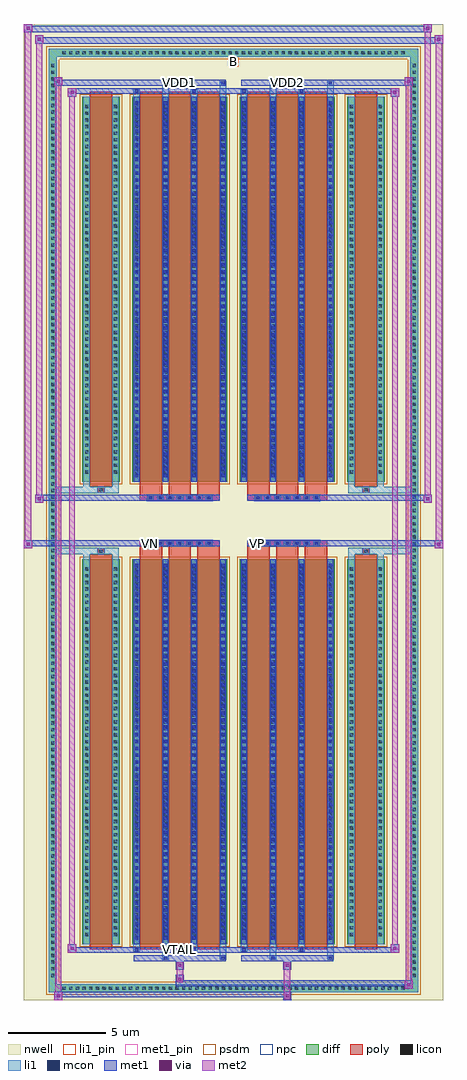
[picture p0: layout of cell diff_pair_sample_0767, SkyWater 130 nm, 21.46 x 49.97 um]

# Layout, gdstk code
import gdstk
lib = gdstk.Library(unit=1e-6, precision=5e-09)
def R(c, l, rs):  # rectangles x0, y0, x1, y1
    for r in rs: c.add(gdstk.rectangle(r[:2], r[2:], *l))
def A(c, l, x, y, w, h, nx, ny, dx, dy):  # array of equal rectangles
    R(c, l, [(x+i*dx, y+j*dy, x+i*dx+w, y+j*dy+h) for i in range(nx) for j in range(ny)])
def P(c, l, *ps):  # polygons
    for p in ps: c.add(gdstk.Polygon(p, *l))
nwell = (64, 20)
diff = (65, 20)
poly = (66, 20)
licon = (66, 44)
li1_pin = (67, 16)
li1 = (67, 20)
mcon = (67, 44)
met1_pin = (68, 16)
met1 = (68, 20)
via = (68, 44)
met2 = (69, 20)
psdm = (94, 20)
npc = (95, 20)

diff_pair_sample_0767 = lib.new_cell('diff_pair_sample_0767')
R(diff_pair_sample_0767, nwell, [(-10.73,-24.55,10.73,25.42), (-8.05,-22.74,-0.01,-0.8), (0.01,-22.74,8.05,-0.8), (-8.05,0.8,-0.01,22.74), (0.01,0.8,8.05,22.74)])
A(diff_pair_sample_0767, diff, -8.875, -24.15, 0.41, 0.41, 52, 2, 0.34, 47.89)
A(diff_pair_sample_0767, diff, -9.46, -23.495, 0.41, 0.41, 1, 138, 0, 0.34)
A(diff_pair_sample_0767, diff, 9.05, -23.495, 0.41, 0.41, 1, 138, 0, 0.34)
R(diff_pair_sample_0767, diff, [(-8.875,-24.15,8.875,-23.74), (-9.46,-23.495,-9.05,23.495), (9.05,-23.495,9.46,23.495), (-7.74,-21.695,-5.82,-1.985), (-5.18,-21.695,-0.32,-1.985), (0.32,-21.695,5.18,-1.985), (5.82,-21.695,7.74,-1.985), (-7.74,1.985,-5.82,21.695), (-5.18,1.985,-0.32,21.695), (0.32,1.985,5.18,21.695), (5.82,1.985,7.74,21.695), (-8.875,23.74,8.875,24.15)])
P(diff_pair_sample_0767, diff, [(9.46,24.15),(-9.46,24.15),(-9.46,-23.74),(-9.05,-23.74),(-9.05,23.74),(9.05,23.74),(9.05,-23.74),(-9.05,-23.74),(-9.46,-23.74),(-9.46,-24.15),(9.46,-24.15)])
A(diff_pair_sample_0767, poly, -4.79, -21.945, 1.14, 20.21, 3, 2, 1.47, 23.68)
A(diff_pair_sample_0767, poly, 0.71, -21.945, 1.14, 20.21, 3, 2, 1.47, 23.68)
A(diff_pair_sample_0767, poly, -4.79, -1.735, 1.14, 0.405, 3, 2, 1.47, 3.065)
A(diff_pair_sample_0767, poly, 0.71, -1.735, 1.14, 0.405, 3, 2, 1.47, 3.065)
A(diff_pair_sample_0767, poly, -4.415, -1.33, 0.33, 0.33, 7, 2, 0.5, 2.33)
A(diff_pair_sample_0767, poly, 1.085, -1.33, 0.33, 0.33, 7, 2, 0.5, 2.33)
R(diff_pair_sample_0767, poly, [(-7.35,-21.945,-6.21,-1.735), (6.21,-21.945,7.35,-1.735), (-6.945,-1.735,-6.615,-1.405), (-6.945,-1.735,-6.615,-1.405), (6.615,-1.735,6.945,-1.405), (6.615,-1.735,6.945,-1.405), (-4.79,-1.33,-0.71,-1), (0.71,-1.33,4.79,-1), (-4.79,1,-0.71,1.33), (0.71,1,4.79,1.33), (-6.945,1.405,-6.615,1.735), (-6.945,1.405,-6.615,1.735), (6.615,1.405,6.945,1.735), (6.615,1.405,6.945,1.735), (-7.35,1.735,-6.21,21.945), (6.21,1.735,7.35,21.945)])
A(diff_pair_sample_0767, licon, -8.755, -24.03, 0.17, 0.17, 52, 2, 0.34, 47.89)
A(diff_pair_sample_0767, licon, -9.34, -23.375, 0.17, 0.17, 1, 138, 0, 0.34)
A(diff_pair_sample_0767, licon, 9.17, -23.375, 0.17, 0.17, 1, 138, 0, 0.34)
A(diff_pair_sample_0767, licon, -7.6, -21.275, 0.17, 0.17, 1, 56, 0, 0.34)
A(diff_pair_sample_0767, licon, -6.13, -21.275, 0.17, 0.17, 1, 56, 0, 0.34)
A(diff_pair_sample_0767, licon, -5.04, -21.275, 0.17, 0.17, 4, 56, 1.47, 0.34)
A(diff_pair_sample_0767, licon, 0.46, -21.275, 0.17, 0.17, 4, 56, 1.47, 0.34)
A(diff_pair_sample_0767, licon, 5.96, -21.275, 0.17, 0.17, 1, 56, 0, 0.34)
A(diff_pair_sample_0767, licon, 7.43, -21.275, 0.17, 0.17, 1, 56, 0, 0.34)
A(diff_pair_sample_0767, licon, -4.335, -1.25, 0.17, 0.17, 7, 2, 0.5, 2.33)
A(diff_pair_sample_0767, licon, 1.165, -1.25, 0.17, 0.17, 7, 2, 0.5, 2.33)
A(diff_pair_sample_0767, licon, -7.6, 2.405, 0.17, 0.17, 1, 56, 0, 0.34)
A(diff_pair_sample_0767, licon, -6.13, 2.405, 0.17, 0.17, 1, 56, 0, 0.34)
A(diff_pair_sample_0767, licon, -5.04, 2.405, 0.17, 0.17, 4, 56, 1.47, 0.34)
A(diff_pair_sample_0767, licon, 0.46, 2.405, 0.17, 0.17, 4, 56, 1.47, 0.34)
A(diff_pair_sample_0767, licon, 5.96, 2.405, 0.17, 0.17, 1, 56, 0, 0.34)
A(diff_pair_sample_0767, licon, 7.43, 2.405, 0.17, 0.17, 1, 56, 0, 0.34)
R(diff_pair_sample_0767, licon, [(-6.865,-1.655,-6.695,-1.485), (6.695,-1.655,6.865,-1.485), (-6.865,1.485,-6.695,1.655), (6.695,1.485,6.865,1.655)])
R(diff_pair_sample_0767, li1_pin, [(-0.25,23.24,0.25,23.74)])
A(diff_pair_sample_0767, li1, -8.835, -24.11, 0.33, 0.33, 52, 2, 0.34, 47.89)
A(diff_pair_sample_0767, li1, -9.42, -23.455, 0.33, 0.33, 1, 138, 0, 0.34)
A(diff_pair_sample_0767, li1, 9.09, -23.455, 0.33, 0.33, 1, 138, 0, 0.34)
A(diff_pair_sample_0767, li1, -5.12, -21.695, 0.33, 19.71, 4, 2, 1.47, 23.68)
A(diff_pair_sample_0767, li1, 0.38, -21.695, 0.33, 19.71, 4, 2, 1.47, 23.68)
A(diff_pair_sample_0767, li1, -5.04, -21.465, 0.17, 0.17, 4, 54, 1.47, 0.36)
A(diff_pair_sample_0767, li1, -5.04, -21.465, 0.17, 19.25, 4, 2, 1.47, 23.68)
A(diff_pair_sample_0767, li1, 0.46, -21.465, 0.17, 0.17, 4, 54, 1.47, 0.36)
A(diff_pair_sample_0767, li1, 0.46, -21.465, 0.17, 19.25, 4, 2, 1.47, 23.68)
A(diff_pair_sample_0767, li1, -7.68, -21.355, 0.33, 0.33, 1, 56, 0, 0.34)
A(diff_pair_sample_0767, li1, -6.21, -21.355, 0.33, 0.33, 1, 56, 0, 0.34)
A(diff_pair_sample_0767, li1, -5.12, -21.355, 0.33, 0.33, 4, 56, 1.47, 0.34)
A(diff_pair_sample_0767, li1, 0.38, -21.355, 0.33, 0.33, 4, 56, 1.47, 0.34)
A(diff_pair_sample_0767, li1, 5.88, -21.355, 0.33, 0.33, 1, 56, 0, 0.34)
A(diff_pair_sample_0767, li1, 7.35, -21.355, 0.33, 0.33, 1, 56, 0, 0.34)
A(diff_pair_sample_0767, li1, -4.415, -1.33, 0.33, 0.33, 7, 2, 0.5, 2.33)
A(diff_pair_sample_0767, li1, 1.085, -1.33, 0.33, 0.33, 7, 2, 0.5, 2.33)
A(diff_pair_sample_0767, li1, -5.04, 2.215, 0.17, 0.17, 4, 54, 1.47, 0.36)
A(diff_pair_sample_0767, li1, 0.46, 2.215, 0.17, 0.17, 4, 54, 1.47, 0.36)
A(diff_pair_sample_0767, li1, -7.68, 2.325, 0.33, 0.33, 1, 56, 0, 0.34)
A(diff_pair_sample_0767, li1, -6.21, 2.325, 0.33, 0.33, 1, 56, 0, 0.34)
A(diff_pair_sample_0767, li1, -5.12, 2.325, 0.33, 0.33, 4, 56, 1.47, 0.34)
A(diff_pair_sample_0767, li1, 0.38, 2.325, 0.33, 0.33, 4, 56, 1.47, 0.34)
A(diff_pair_sample_0767, li1, 5.88, 2.325, 0.33, 0.33, 1, 56, 0, 0.34)
A(diff_pair_sample_0767, li1, 7.35, 2.325, 0.33, 0.33, 1, 56, 0, 0.34)
R(diff_pair_sample_0767, li1, [(-9.46,-24.15,-9.05,-23.74), (-9.46,-24.15,-9.05,-23.74), (-9.05,-24.15,9.05,-23.74), (9.05,-24.15,9.46,-23.74), (9.05,-24.15,9.46,-23.74), (-9.46,-23.74,-9.05,23.74), (9.05,-23.74,9.46,23.74), (-3.65,-22.5,-3.32,-21.695), (-3.57,-22.5,-3.4,-22.33), (-0.71,-22.5,-0.38,-21.695), (-0.63,-22.5,-0.46,-22.33), (1.85,-22.5,2.18,-21.695), (1.93,-22.5,2.1,-22.33), (4.79,-22.5,5.12,-21.695), (4.87,-22.5,5.04,-22.33), (-5.12,-22.07,-4.79,-21.695), (-5.04,-22.07,-4.87,-21.9), (-2.18,-22.07,-1.85,-21.695), (-2.1,-22.07,-1.93,-21.9), (0.38,-22.07,0.71,-21.695), (0.46,-22.07,0.63,-21.9), (3.32,-22.07,3.65,-21.695), (3.4,-22.07,3.57,-21.9), (-7.68,-21.695,-7.35,-1.985), (-6.21,-21.695,-5.88,-1.985), (5.88,-21.695,6.21,-1.985), (7.35,-21.695,7.68,-1.985), (-7.68,-1.985,-7.35,-1.405), (-6.21,-1.985,-5.88,-1.405), (5.88,-1.985,6.21,-1.405), (7.35,-1.985,7.68,-1.405), (-9.46,-1.735,-6.945,-1.405), (-7.68,-1.735,-6.945,-1.405), (-6.945,-1.735,-6.615,-1.405), (-6.615,-1.735,-5.88,-1.405), (5.88,-1.735,6.615,-1.405), (6.615,-1.735,6.945,-1.405), (6.615,-1.735,9.46,-1.405), (6.945,-1.735,7.68,-1.405), (-9.46,1.405,-6.945,1.735), (-7.68,1.405,-6.945,1.735), (-7.68,1.405,-7.35,1.985), (-6.945,1.405,-6.615,1.735), (-6.615,1.405,-5.88,1.735), (-6.21,1.405,-5.88,1.985), (5.88,1.405,6.615,1.735), (5.88,1.405,6.21,1.985), (6.615,1.405,6.945,1.735), (6.615,1.405,9.46,1.735), (6.945,1.405,7.68,1.735), (7.35,1.405,7.68,1.985), (-7.68,1.985,-7.35,21.695), (-6.21,1.985,-5.88,21.695), (5.88,1.985,6.21,21.695), (7.35,1.985,7.68,21.695), (-5.12,21.695,-4.79,22.07), (-3.65,21.695,-3.32,22.5), (-2.18,21.695,-1.85,22.07), (-0.71,21.695,-0.38,22.5), (0.38,21.695,0.71,22.07), (1.85,21.695,2.18,22.5), (3.32,21.695,3.65,22.07), (4.79,21.695,5.12,22.5), (-5.04,21.9,-4.87,22.07), (-2.1,21.9,-1.93,22.07), (0.46,21.9,0.63,22.07), (3.4,21.9,3.57,22.07), (-3.57,22.33,-3.4,22.5), (-0.63,22.33,-0.46,22.5), (1.93,22.33,2.1,22.5), (4.87,22.33,5.04,22.5), (-9.46,23.74,-9.05,24.15), (-9.46,23.74,-9.05,24.15), (-9.05,23.74,9.05,24.15), (9.05,23.74,9.46,24.15), (9.05,23.74,9.46,24.15)])
A(diff_pair_sample_0767, mcon, -5.04, -21.465, 0.17, 0.17, 4, 54, 1.47, 0.36)
A(diff_pair_sample_0767, mcon, 0.46, -21.465, 0.17, 0.17, 4, 54, 1.47, 0.36)
A(diff_pair_sample_0767, mcon, -4.335, -1.25, 0.17, 0.17, 7, 2, 0.5, 2.33)
A(diff_pair_sample_0767, mcon, 1.165, -1.25, 0.17, 0.17, 7, 2, 0.5, 2.33)
A(diff_pair_sample_0767, mcon, -5.04, 2.215, 0.17, 0.17, 4, 54, 1.47, 0.36)
A(diff_pair_sample_0767, mcon, 0.46, 2.215, 0.17, 0.17, 4, 54, 1.47, 0.36)
R(diff_pair_sample_0767, mcon, [(-3.57,-22.5,-3.4,-22.33), (-0.63,-22.5,-0.46,-22.33), (1.93,-22.5,2.1,-22.33), (4.87,-22.5,5.04,-22.33), (-5.04,-22.07,-4.87,-21.9), (-2.1,-22.07,-1.93,-21.9), (0.46,-22.07,0.63,-21.9), (3.4,-22.07,3.57,-21.9), (-5.04,21.9,-4.87,22.07), (-2.1,21.9,-1.93,22.07), (0.46,21.9,0.63,22.07), (3.4,21.9,3.57,22.07), (-3.57,22.33,-3.4,22.5), (-0.63,22.33,-0.46,22.5), (1.93,22.33,2.1,22.5), (4.87,22.33,5.04,22.5)])
R(diff_pair_sample_0767, met1_pin, [(-2.885,-22.11,-2.615,-21.84), (-4.385,-1.29,-4.115,-1.02), (1.115,-1.29,1.385,-1.02), (-2.885,22.29,-2.615,22.56), (2.615,22.29,2.885,22.56)])
A(diff_pair_sample_0767, met1, -5.1, -21.695, 0.29, 19.71, 4, 2, 1.47, 23.68)
A(diff_pair_sample_0767, met1, 0.4, -21.695, 0.29, 19.71, 4, 2, 1.47, 23.68)
A(diff_pair_sample_0767, met1, -5.1, -21.525, 0.29, 0.29, 4, 54, 1.47, 0.36)
A(diff_pair_sample_0767, met1, 0.4, -21.525, 0.29, 0.29, 4, 54, 1.47, 0.36)
A(diff_pair_sample_0767, met1, -4.395, -1.31, 0.29, 0.29, 7, 2, 0.5, 2.33)
A(diff_pair_sample_0767, met1, 1.105, -1.31, 0.29, 0.29, 7, 2, 0.5, 2.33)
A(diff_pair_sample_0767, met1, -5.1, 2.155, 0.29, 0.29, 4, 54, 1.47, 0.36)
A(diff_pair_sample_0767, met1, 0.4, 2.155, 0.29, 0.29, 4, 54, 1.47, 0.36)
R(diff_pair_sample_0767, met1, [(-9.19,-24.55,-8.76,-24.12), (2.535,-24.55,2.965,-24.12), (-9.19,-24.41,2.965,-24.12), (8.76,-23.98,9.19,-23.55), (-2.965,-23.84,9.19,-23.55), (-2.965,-23.7,-2.535,-23.27), (-2.965,-22.99,-2.535,-22.56), (2.535,-22.99,2.965,-22.56), (-5.1,-22.56,-0.4,-22.27), (-3.63,-22.56,-3.34,-22.27), (-0.69,-22.56,-0.4,-22.27), (0.4,-22.56,5.1,-22.27), (1.87,-22.56,2.16,-22.27), (4.81,-22.56,5.1,-22.27), (-8.48,-22.13,-8.05,-21.7), (-8.48,-22.13,-5.1,-21.84), (-5.1,-22.13,-4.81,-21.84), (-5.1,-22.13,-0.4,-21.84), (-2.16,-22.13,-1.87,-21.84), (-0.4,-22.13,0.4,-21.84), (0.4,-22.13,0.69,-21.84), (0.4,-22.13,5.1,-21.84), (3.34,-22.13,3.63,-21.84), (5.1,-22.13,8.48,-21.84), (8.05,-22.13,8.48,-21.7), (-10.73,-1.43,-10.3,-1), (10.3,-1.43,10.73,-1), (-10.73,-1.33,-0.71,-1), (-4.79,-1.33,-0.71,-1), (0.71,-1.33,4.79,-1), (0.71,-1.33,10.73,-1), (-10.16,0.9,-9.73,1.33), (9.73,0.9,10.16,1.33), (-10.16,1,-4.79,1.33), (-4.79,1,-0.71,1.33), (0.71,1,4.79,1.33), (4.79,1,10.16,1.33), (-8.48,21.7,-8.05,22.13), (8.05,21.7,8.48,22.13), (-8.48,21.84,-5.1,22.13), (-5.1,21.84,-4.81,22.13), (-5.1,21.84,-0.4,22.13), (-2.16,21.84,-1.87,22.13), (-0.4,21.84,0.4,22.13), (0.4,21.84,0.69,22.13), (0.4,21.84,5.1,22.13), (3.34,21.84,3.63,22.13), (5.1,21.84,8.48,22.13), (-9.19,22.27,-8.76,22.7), (-9.19,22.27,-5.1,22.56), (-5.1,22.27,-0.4,22.56), (-3.63,22.27,-3.34,22.56), (-0.69,22.27,-0.4,22.56), (0.4,22.27,5.1,22.56), (1.87,22.27,2.16,22.56), (4.81,22.27,5.1,22.56), (5.1,22.27,9.19,22.56), (8.76,22.27,9.19,22.7), (-10.16,24.42,-9.73,24.85), (-10.16,24.42,-8.05,24.75), (-8.05,24.42,8.05,24.75), (8.05,24.42,10.73,24.75), (10.3,24.42,10.73,24.85), (-10.73,24.99,-10.3,25.42), (-10.73,24.99,-8.05,25.32), (-8.05,24.99,8.05,25.32), (8.05,24.99,10.16,25.32), (9.73,24.99,10.16,25.42)])
R(diff_pair_sample_0767, via, [(-9.05,-24.41,-8.9,-24.26), (2.675,-24.41,2.825,-24.26), (8.9,-23.84,9.05,-23.69), (-2.825,-23.56,-2.675,-23.41), (-2.825,-22.85,-2.675,-22.7), (2.675,-22.85,2.825,-22.7), (-8.34,-21.99,-8.19,-21.84), (8.19,-21.99,8.34,-21.84), (-10.59,-1.29,-10.44,-1.14), (10.44,-1.29,10.59,-1.14), (-10.02,1.04,-9.87,1.19), (9.87,1.04,10.02,1.19), (-8.34,21.84,-8.19,21.99), (8.19,21.84,8.34,21.99), (-9.05,22.41,-8.9,22.56), (8.9,22.41,9.05,22.56), (-10.02,24.56,-9.87,24.71), (10.44,24.56,10.59,24.71), (-10.59,25.13,-10.44,25.28), (9.87,25.13,10.02,25.28)])
R(diff_pair_sample_0767, met2, [(-9.19,-24.55,-8.76,-24.12), (-9.12,-24.55,-8.83,22.7), (-8.83,-24.55,-8.76,-24.12), (-9.14,-24.5,-8.81,-24.17), (2.585,-24.5,2.915,-24.17), (2.585,-24.17,2.915,-22.94), (8.76,-23.98,9.19,-23.55), (8.83,-23.98,9.12,22.7), (9.12,-23.98,9.19,-23.55), (8.81,-23.93,9.14,-23.6), (-2.915,-23.65,-2.585,-23.32), (-2.915,-23.32,-2.585,-22.94), (-2.915,-22.94,-2.585,-22.61), (2.585,-22.94,2.915,-22.61), (-8.48,-22.13,-8.05,-21.7), (-8.41,-22.13,-8.12,22.13), (-8.12,-22.13,-8.05,-21.7), (8.05,-22.13,8.48,-21.7), (8.12,-22.13,8.41,22.13), (8.41,-22.13,8.48,-21.7), (-8.43,-22.08,-8.1,-21.75), (8.1,-22.08,8.43,-21.75), (-10.73,-1.43,-10.3,-1), (-10.68,-1.43,-10.35,25.42), (-10.35,-1.43,-10.3,-1), (10.3,-1.43,10.73,-1), (10.35,-1.43,10.68,24.85), (10.68,-1.43,10.73,-1), (-10.68,-1.38,-10.35,-1.05), (10.35,-1.38,10.68,-1.05), (-10.16,0.9,-9.73,1.33), (-10.11,0.9,-9.78,24.85), (-9.78,0.9,-9.73,1.33), (9.73,0.9,10.16,1.33), (9.78,0.9,10.11,25.42), (10.11,0.9,10.16,1.33), (-10.11,0.95,-9.78,1.28), (9.78,0.95,10.11,1.28), (-8.48,21.7,-8.05,22.13), (-8.12,21.7,-8.05,22.13), (8.05,21.7,8.48,22.13), (8.41,21.7,8.48,22.13), (-8.43,21.75,-8.1,22.08), (8.1,21.75,8.43,22.08), (-9.19,22.27,-8.76,22.7), (-8.83,22.27,-8.76,22.7), (8.76,22.27,9.19,22.7), (9.12,22.27,9.19,22.7), (-9.14,22.32,-8.81,22.65), (8.81,22.32,9.14,22.65), (-10.16,24.42,-9.73,24.85), (-9.78,24.42,-9.73,24.85), (10.3,24.42,10.73,24.85), (10.68,24.42,10.73,24.85), (-10.11,24.47,-9.78,24.8), (10.35,24.47,10.68,24.8), (-10.73,24.99,-10.3,25.42), (-10.35,24.99,-10.3,25.42), (9.73,24.99,10.16,25.42), (10.11,24.99,10.16,25.42), (-10.68,25.04,-10.35,25.37), (9.78,25.04,10.11,25.37)])
R(diff_pair_sample_0767, psdm, [(-7.87,-21.825,-5.69,-1.855), (-5.31,-21.825,-0.19,-1.855), (0.19,-21.825,5.31,-1.855), (5.69,-21.825,7.87,-1.855), (-7.87,1.855,-5.69,21.825), (-5.31,1.855,-0.19,21.825), (0.19,1.855,5.31,21.825), (5.69,1.855,7.87,21.825)])
P(diff_pair_sample_0767, psdm, [(9.59,24.28),(-9.59,24.28),(-9.59,-23.61),(-8.92,-23.61),(-8.92,23.61),(8.92,23.61),(8.92,-23.61),(-8.92,-23.61),(-9.59,-23.61),(-9.59,-24.28),(9.59,-24.28)])
A(diff_pair_sample_0767, npc, -4.435, -1.35, 0.37, 0.37, 7, 2, 0.5, 2.33)
A(diff_pair_sample_0767, npc, 1.065, -1.35, 0.37, 0.37, 7, 2, 0.5, 2.33)
R(diff_pair_sample_0767, npc, [(-6.965,-1.755,-6.595,-1.385), (6.595,-1.755,6.965,-1.385), (-4.435,-1.35,-3.565,-0.98), (-4.435,-1.35,-3.565,-0.98), (-3.935,-1.35,-3.065,-0.98), (-3.935,-1.35,-3.065,-0.98), (-3.435,-1.35,-2.565,-0.98), (-3.435,-1.35,-2.565,-0.98), (-2.935,-1.35,-2.065,-0.98), (-2.935,-1.35,-2.065,-0.98), (-2.435,-1.35,-1.565,-0.98), (-2.435,-1.35,-1.565,-0.98), (-1.935,-1.35,-1.065,-0.98), (-1.935,-1.35,-1.065,-0.98), (1.065,-1.35,1.935,-0.98), (1.065,-1.35,1.935,-0.98), (1.565,-1.35,2.435,-0.98), (1.565,-1.35,2.435,-0.98), (2.065,-1.35,2.935,-0.98), (2.065,-1.35,2.935,-0.98), (2.565,-1.35,3.435,-0.98), (2.565,-1.35,3.435,-0.98), (3.065,-1.35,3.935,-0.98), (3.065,-1.35,3.935,-0.98), (3.565,-1.35,4.435,-0.98), (3.565,-1.35,4.435,-0.98), (-4.435,0.98,-3.565,1.35), (-4.435,0.98,-3.565,1.35), (-3.935,0.98,-3.065,1.35), (-3.935,0.98,-3.065,1.35), (-3.435,0.98,-2.565,1.35), (-3.435,0.98,-2.565,1.35), (-2.935,0.98,-2.065,1.35), (-2.935,0.98,-2.065,1.35), (-2.435,0.98,-1.565,1.35), (-2.435,0.98,-1.565,1.35), (-1.935,0.98,-1.065,1.35), (-1.935,0.98,-1.065,1.35), (1.065,0.98,1.935,1.35), (1.065,0.98,1.935,1.35), (1.565,0.98,2.435,1.35), (1.565,0.98,2.435,1.35), (2.065,0.98,2.935,1.35), (2.065,0.98,2.935,1.35), (2.565,0.98,3.435,1.35), (2.565,0.98,3.435,1.35), (3.065,0.98,3.935,1.35), (3.065,0.98,3.935,1.35), (3.565,0.98,4.435,1.35), (3.565,0.98,4.435,1.35), (-6.965,1.385,-6.595,1.755), (6.595,1.385,6.965,1.755)])
diff_pair_sample_0767.add(gdstk.Label('VTAIL', (-2.75,-21.975), layer=68, texttype=5))
diff_pair_sample_0767.add(gdstk.Label('VN', (-4.25,-1.155), layer=68, texttype=5))
diff_pair_sample_0767.add(gdstk.Label('VP', (1.25,-1.155), layer=68, texttype=5))
diff_pair_sample_0767.add(gdstk.Label('B', (0,23.49), layer=67, texttype=5))
diff_pair_sample_0767.add(gdstk.Label('VDD2', (2.75,22.425), layer=68, texttype=5))
diff_pair_sample_0767.add(gdstk.Label('VDD1', (-2.75,22.425), layer=68, texttype=5))

lib.write_gds('diff_pair_sample_0767.gds')
